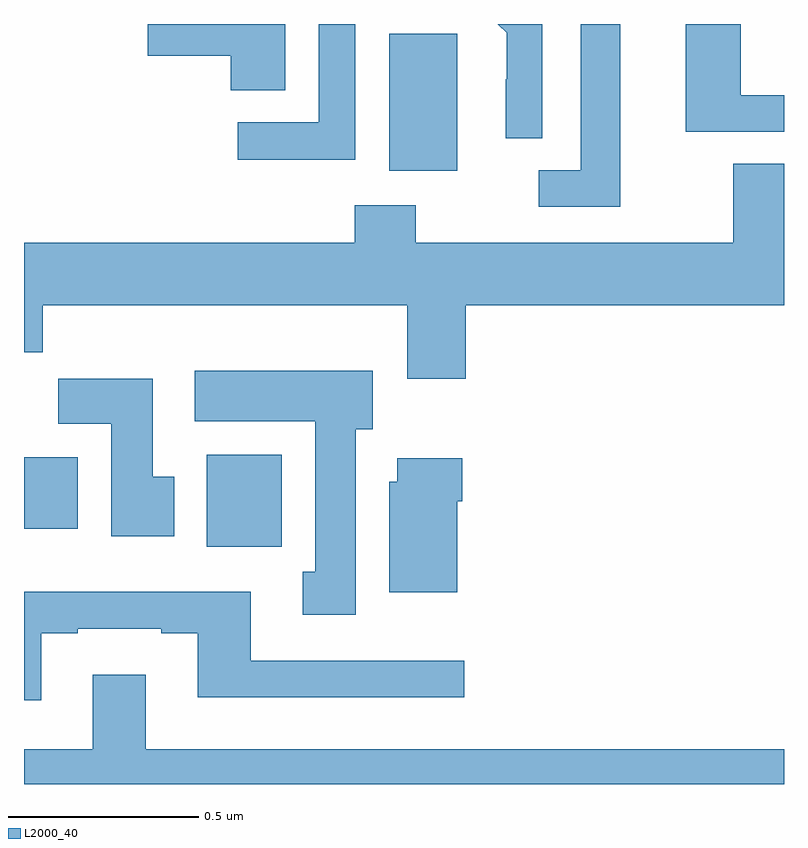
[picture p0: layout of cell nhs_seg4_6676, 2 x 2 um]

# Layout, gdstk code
import gdstk
lib = gdstk.Library(unit=1e-6, precision=1e-09)
def R(c, l, rs):  # rectangles x0, y0, x1, y1
    for r in rs: c.add(gdstk.rectangle(r[:2], r[2:], *l))
def P(c, l, *ps):  # polygons
    for p in ps: c.add(gdstk.Polygon(p, *l))
L2000_40 = (2000, 40)

nhs_seg4_6676 = lib.new_cell('nhs_seg4_6676')
R(nhs_seg4_6676, L2000_40, [(193.481,789.524,193.678,789.766), (193,789.572,193.141,789.76), (193.961,790.514,194.14,790.875)])
P(nhs_seg4_6676, L2000_40, [(193.872,790.9),(193.776,790.9),(193.776,790.641),(193.563,790.641),(193.563,790.543),(193.872,790.543)],
  [(194.364,790.9),(194.247,790.9),(194.27,790.877),(194.27,790.754),(194.268,790.754),(194.268,790.6),(194.364,790.6)],
  [(194.569,790.9),(194.465,790.9),(194.465,790.515),(194.355,790.515),(194.355,790.419),(194.569,790.419)],
  [(193.687,790.9),(193.326,790.9),(193.326,790.817),(193.544,790.817),(193.544,790.726),(193.687,790.726)],
  [(195,790.713),(194.886,790.713),(194.886,790.9),(194.741,790.9),(194.741,790.617),(195,790.617)],
  [(194.162,790.16),(195,790.16),(195,790.532),(194.867,790.532),(194.867,790.324),(194.031,790.324),(194.031,790.423),(193.871,790.423),(193.871,790.324),(193,790.324),(193,790.036),(193.049,790.036),(193.049,790.16),(194.009,790.16),(194.009,789.966),(194.162,789.966)],
  [(193.873,789.834),(193.918,789.834),(193.918,789.988),(193.449,789.988),(193.449,789.854),(193.766,789.854),(193.766,789.458),(193.733,789.458),(193.733,789.345),(193.873,789.345)],
  [(193.396,789.708),(193.339,789.708),(193.339,789.967),(193.09,789.967),(193.09,789.848),(193.229,789.848),(193.229,789.552),(193.396,789.552)],
  [(194.14,789.644),(194.153,789.644),(194.153,789.757),(193.982,789.757),(193.982,789.696),(193.961,789.696),(193.961,789.404),(194.14,789.404)],
  [(193.045,789.297),(193.141,789.297),(193.141,789.309),(193.361,789.309),(193.361,789.297),(193.457,789.297),(193.457,789.128),(194.158,789.128),(194.158,789.225),(193.597,789.225),(193.597,789.406),(193,789.406),(193,789.12),(193.045,789.12)],
  [(195,788.992),(193.321,788.992),(193.321,789.187),(193.181,789.187),(193.181,788.992),(193,788.992),(193,788.9),(195,788.9)])

lib.write_gds('nhs_seg4_6676.gds')
